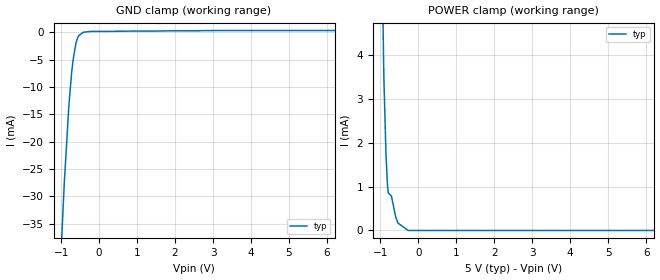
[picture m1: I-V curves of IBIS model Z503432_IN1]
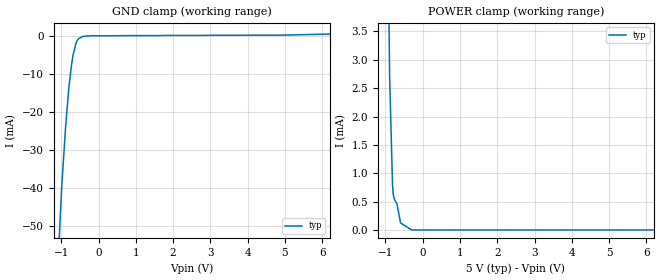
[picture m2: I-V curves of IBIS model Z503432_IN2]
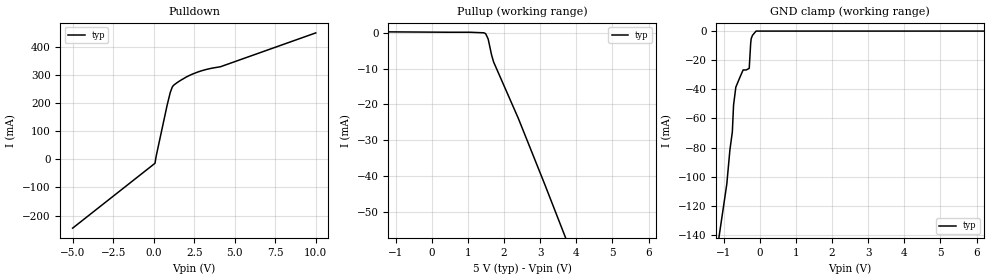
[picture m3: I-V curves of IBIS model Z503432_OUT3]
| YOU ARE ONLY AUTHORIZED TO USE THIS SOFTWARE
| ACCORDING TO LICENSOR'S LICENSE RESTRICTIONS.
[IBIS Ver] 3.1
[File Name] mc10elt21d.ibs
[File Rev] 2.0
[Source] Measured and created by ICX Technology
[Date] Friday 7/14/00 9:07:50 AM
[Copyright]
| (C) COPYRIGHT 1993-2000
| MENTOR GRAPHICS CORPORATION
| ICX STANDARD LIBRARY, ICX PROJECT MODELING,
| ICX CUSTOM MODELING, ICX VENDOR MODEL
| ALL RIGHTS RESERVED.
| THE FOLLOWING ARE TRADEMARKS OR SERVICE MARKS OF
| MENTOR GRAPHICS CORPORATION:ICX (R), ICX STANDARD
| LIBRARY(R), ICX PROJECT MODELING(R), ICX CUSTOM
| MODELING(R), qualityIBIS(TM), MODELVIEWER(TM),
| AND MODELEDITOR(TM)
| ALL COPIES OF SOFTWARE, INCLUDING BUT NOT LIMITED TO
| ANY MODIFICATIONS, ENHANCEMENTS OR DERIVATIVE WORKS,
| MUST CONTAIN ALL MENTOR GRAPHICS CORPORATION'S
| NOTICES AND LEGENDS, INCLUDING THOSE EMBEDDED IN
| SOFTWARE AND THOSE AFFIXED TO SOFTWARE MEDIUM
| AND CONTAINER, AS RECEIVED FROM MENTOR GRAPHICS
| CORPORATION.
|  ZAP Model Builder 2.7
[Component] MC10ELT21D
[Manufacturer] OnSemiconductor
[Package]
| variable   typ   min   max
R_pkg  .152ohms NA NA
L_pkg  2.714nH NA NA
C_pkg  .364pF NA NA
[Pin] signal_name  model_name  R_pin  L_pin C_pin
1 NC NC .154 2.924n .374p
2 D0 Z503432_IN1 .15 2.504n .354p
3 _D0 Z503432_IN2 .15 2.504n .354p
4 VBB NC .154 2.924n .374p
5 GND GND .154 2.924n .374p
6 NC NC .15 2.504n .354p
7 Q0 Z503432_OUT3 .15 2.504n .354p
8 VCC POWER .154 2.924n .374p
| Models and submodels in the file (3): Z503432_IN1 (Input), Z503432_IN2 (Input), Z503432_OUT3 (Output)
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| (C) COPYRIGHT 1993-2000
| MENTOR GRAPHICS CORPORATION
| ICX STANDARD LIBRARY, ICX PROJECT MODELING,
| ICX CUSTOM MODELING, ICX VENDOR MODEL
| ALL RIGHTS RESERVED.
| THE FOLLOWING ARE TRADEMARKS OR SERVICE MARKS OF
| MENTOR GRAPHICS CORPORATION:ICX (R), ICX STANDARD
| LIBRARY(R), ICX PROJECT MODELING(R), ICX CUSTOM
| MODELING(R), qualityIBIS(TM), MODELVIEWER(TM),
| AND MODELEDITOR(TM)
| ALL COPIES OF SOFTWARE, INCLUDING BUT NOT LIMITED TO
| ANY MODIFICATIONS, ENHANCEMENTS OR DERIVATIVE WORKS,
| MUST CONTAIN ALL MENTOR GRAPHICS CORPORATION'S
| NOTICES AND LEGENDS, INCLUDING THOSE EMBEDDED IN
| SOFTWARE AND THOSE AFFIXED TO SOFTWARE MEDIUM
| AND CONTAINER, AS RECEIVED FROM MENTOR GRAPHICS
| CORPORATION.
| Model Application Version 1.89 2/18/99.
[Model] Z503432_IN1
Model_type Input
Vinl = 800.0mV
Vinh = 2.000V
C_comp 4.000pF NA NA
| variable typ   min   max
[Voltage Range] 5.000V NA NA
[GND Clamp Reference] 0.000V NA NA
[POWER Clamp Reference] 5.000V NA NA
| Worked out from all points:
|   GND clamp passes 1 mA (typ) near -0.56 V on its own axis
|   POWER clamp passes 1 mA (typ) near -0.81 V on its own axis
[GND Clamp]
-5V       -1.016A    NA         NA
-1.005V   -40.66mA   NA         NA
-919.3mV  -27.86mA   NA         NA
-795.8mV  -13.38mA   NA         NA
-722.7mV  -7.333mA   NA         NA
-683.4mV  -4.992mA   NA         NA
-608.8mV  -1.977mA   NA         NA
-571mV    -1.11mA    NA         NA
-532.2mV  -598.5uA   NA         NA
-410.2mV  3.433uA    NA         NA
3.081V    309.9uA    NA         NA
10V       309.9uA    NA         NA
[POWER Clamp]
-5V       1.038A     NA         NA
-1.002V   8.948mA    NA         NA
-907mV    3.502mA    NA         NA
-850mV    1.717mA    NA         NA
-811mV    1.038mA    NA         NA
-791mV    855.1uA    NA         NA
-708mV    784.1uA    NA         NA
-595mV    306.2uA    NA         NA
-532mV    166.2uA    NA         NA
-266mV    0A         NA         NA
10V       0A         NA         NA
| (C) COPYRIGHT 1993-2000
| MENTOR GRAPHICS CORPORATION
| ICX STANDARD LIBRARY, ICX PROJECT MODELING,
| ICX CUSTOM MODELING, ICX VENDOR MODEL
| ALL RIGHTS RESERVED.
| THE FOLLOWING ARE TRADEMARKS OR SERVICE MARKS OF
| MENTOR GRAPHICS CORPORATION:ICX (R), ICX STANDARD
| LIBRARY(R), ICX PROJECT MODELING(R), ICX CUSTOM
| MODELING(R), qualityIBIS(TM), MODELVIEWER(TM),
| AND MODELEDITOR(TM)
| ALL COPIES OF SOFTWARE, INCLUDING BUT NOT LIMITED TO
| ANY MODIFICATIONS, ENHANCEMENTS OR DERIVATIVE WORKS,
| MUST CONTAIN ALL MENTOR GRAPHICS CORPORATION'S
| NOTICES AND LEGENDS, INCLUDING THOSE EMBEDDED IN
| SOFTWARE AND THOSE AFFIXED TO SOFTWARE MEDIUM
| AND CONTAINER, AS RECEIVED FROM MENTOR GRAPHICS
| CORPORATION.
| Model Application Version 1.89 2/18/99.
[Model] Z503432_IN2
Model_type Input
Vinl = 800.0mV
Vinh = 2.000V
C_comp 4.000pF NA NA
| variable typ   min   max
[Voltage Range] 5.000V NA NA
[GND Clamp Reference] 0.000V NA NA
[POWER Clamp Reference] 5.000V NA NA
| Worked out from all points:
|   GND clamp passes 1 mA (typ) near -0.57 V on its own axis
|   POWER clamp passes 1 mA (typ) near -0.82 V on its own axis
[GND Clamp]
-5V       -1.091A    NA         NA
-1.166V   -75.72mA   NA         NA
-986.3mV  -39.32mA   NA         NA
-881.9mV  -23.63mA   NA         NA
-795.7mV  -13.39mA   NA         NA
-722.7mV  -7.318mA   NA         NA
-683.5mV  -4.92mA    NA         NA
-608.7mV  -1.913mA   NA         NA
-532.2mV  -551.2uA   NA         NA
-410.2mV  24.6uA     NA         NA
4.864V    319.8uA    NA         NA
10V       1.457mA    NA         NA
[POWER Clamp]
-5V       1.002A     NA         NA
-1.001V   9.085mA    NA         NA
-888mV    2.697mA    NA         NA
-811mV    805.4uA    NA         NA
-791mV    627.8uA    NA         NA
-767mV    552.1uA    NA         NA
-689mV    452.5uA    NA         NA
-595mV    123.8uA    NA         NA
-297.5mV  0A         NA         NA
10V       0A         NA         NA
| (C) COPYRIGHT 1993-2000
| MENTOR GRAPHICS CORPORATION
| ICX STANDARD LIBRARY, ICX PROJECT MODELING,
| ICX CUSTOM MODELING, ICX VENDOR MODEL
| ALL RIGHTS RESERVED.
| THE FOLLOWING ARE TRADEMARKS OR SERVICE MARKS OF
| MENTOR GRAPHICS CORPORATION:ICX (R), ICX STANDARD
| LIBRARY(R), ICX PROJECT MODELING(R), ICX CUSTOM
| MODELING(R), qualityIBIS(TM), MODELVIEWER(TM),
| AND MODELEDITOR(TM)
| ALL COPIES OF SOFTWARE, INCLUDING BUT NOT LIMITED TO
| ANY MODIFICATIONS, ENHANCEMENTS OR DERIVATIVE WORKS,
| MUST CONTAIN ALL MENTOR GRAPHICS CORPORATION'S
| NOTICES AND LEGENDS, INCLUDING THOSE EMBEDDED IN
| SOFTWARE AND THOSE AFFIXED TO SOFTWARE MEDIUM
| AND CONTAINER, AS RECEIVED FROM MENTOR GRAPHICS
| CORPORATION.
| Model Application Version 1.89 2/18/99.
[Model] Z503432_OUT3
Model_type Output
Vref=0.000V
Rref=500.0Mohms
Cref=30.00pF
Vmeas=1.500V
C_comp 8.000pF NA NA
| variable typ   min   max
[Voltage Range] 5.000V NA NA
[POWER Clamp Reference] 5.000V NA NA
[Pullup Reference] 5.000V NA NA
[Pulldown Reference] 0.000V NA NA
[GND Clamp Reference] 0.000V NA NA
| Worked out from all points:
|   slope of the pulldown table from 0 to 0.75 V, typ, clamps not added: 3.97 ohm
|   slope of the pullup table from 0 to 0.75 V, typ, clamps not added: 25.7 kohm
|   GND clamp passes 1 mA (typ) near -0.13 V on its own axis
[GND Clamp]
-5V       -795.2mA   NA         NA
-909mV    -105.1mA   NA         NA
-822.9mV  -81.6mA    NA         NA
-755.7mV  -69.26mA   NA         NA
-721.9mV  -50.8mA    NA         NA
-659.1mV  -38.51mA   NA         NA
-457.5mV  -26.71mA   NA         NA
-288.5mV  -25.61mA   NA         NA
-249.1mV  -8.733mA   NA         NA
-234.3mV  -5.216mA   NA         NA
-99.3mV   0A         NA         NA
10V       0A         NA         NA
[Pulldown]
-5V       -245.1mA   NA         NA
82.13mV   -13.93mA   NA         NA
156.3mV   11.9mA     NA         NA
835.3mV   194.1mA    NA         NA
1.025V    238.7mA    NA         NA
1.147V    257.6mA    NA         NA
1.274V    266.2mA    NA         NA
2.024V    293.9mA    NA         NA
2.744V    311.8mA    NA         NA
4.117V    330.1mA    NA         NA
10V       450.8mA    NA         NA
[Pullup]
-5V       549.5uA    NA         NA
465.5mV   206.9uA    NA         NA
1.043V    206.9uA    NA         NA
1.441V    48.73uA    NA         NA
1.48V     -131.4uA   NA         NA
1.499V    -331.6uA   NA         NA
1.562V    -1.726mA   NA         NA
1.655V    -6.14mA    NA         NA
1.712V    -8.125mA   NA         NA
2.395V    -23.89mA   NA         NA
3.129V    -42.43mA   NA         NA
10V       -220.8mA   NA         NA
[POWER Clamp]
-5V       0A         NA         NA
10V       0A         NA         NA
[Ramp]
| variable typ min max
dV/dt_r 1.925/2.304n NA NA
dV/dt_f 1.925/1.045n NA NA
R_load = 500.0Ohms
